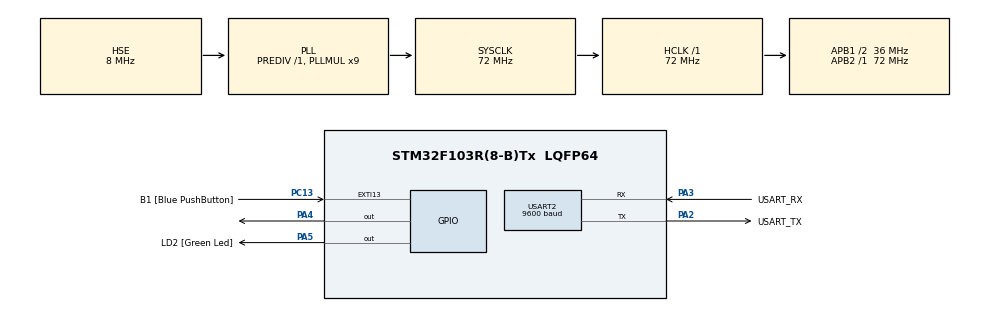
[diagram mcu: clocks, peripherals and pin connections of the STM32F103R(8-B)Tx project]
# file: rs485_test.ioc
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Mcu.Family=STM32F1
Mcu.Name=STM32F103R(8-B)Tx
Mcu.Package=LQFP64
NVIC.EXTI15_10_IRQn=true\:0\:0\:false\:false\:true\:true\:true\:true
NVIC.PriorityGroup=NVIC_PRIORITYGROUP_4
NVIC.USART2_IRQn=true\:0\:0\:false\:false\:true\:true\:true\:true
PA13.GPIO_Label=TMS
PA13.Mode=Serial_Wire
PA13.Signal=SYS_JTMS-SWDIO
PA14.GPIO_Label=TCK
PA14.Mode=Serial_Wire
PA14.Signal=SYS_JTCK-SWCLK
PA2.GPIO_Label=USART_TX
PA2.GPIO_Mode=GPIO_MODE_AF_PP
PA2.GPIO_PuPd=GPIO_NOPULL
PA2.GPIO_Speed=GPIO_SPEED_FREQ_LOW
PA2.Mode=Asynchronous
PA2.Signal=USART2_TX
PA3.GPIO_Label=USART_RX
PA3.GPIO_Mode=GPIO_MODE_AF_PP
PA3.GPIO_PuPd=GPIO_NOPULL
PA3.GPIO_Speed=GPIO_SPEED_FREQ_LOW
PA3.Mode=Asynchronous
PA3.Signal=USART2_RX
PA4.Signal=GPIO_Output
PA5.GPIO_Label=LD2 [Green Led]
PA5.GPIO_ModeDefaultOutputPP=GPIO_MODE_OUTPUT_PP
PA5.GPIO_PuPd=GPIO_NOPULL
PA5.GPIO_Speed=GPIO_SPEED_FREQ_LOW
PA5.Signal=GPIO_Output
PB3.GPIO_Label=SWO
PB3.Signal=SYS_JTDO-TRACESWO
PC13-TAMPER-RTC.GPIO_Label=B1 [Blue PushButton]
PC13-TAMPER-RTC.GPIO_PuPd=GPIO_NOPULL
PC13-TAMPER-RTC.Signal=GPXTI13
PC14-OSC32_IN.Mode=LSE-External-Oscillator
PC14-OSC32_IN.Signal=RCC_OSC32_IN
PC15-OSC32_OUT.Mode=LSE-External-Oscillator
PC15-OSC32_OUT.Signal=RCC_OSC32_OUT
PD0-OSC_IN.Mode=HSE-External-Clock-Source
PD0-OSC_IN.Signal=RCC_OSC_IN
PD1-OSC_OUT.Mode=HSE-External-Clock-Source
PD1-OSC_OUT.Signal=RCC_OSC_OUT
ProjectManager.HeapSize=0x200
ProjectManager.StackSize=0x400
ProjectManager.TargetToolchain=STM32CubeIDE
RCC.AHBFreq_Value=72000000
RCC.APB1CLKDivider=RCC_HCLK_DIV2
RCC.APB1Freq_Value=36000000
RCC.APB1TimFreq_Value=72000000
RCC.APB2Freq_Value=72000000
RCC.APB2TimFreq_Value=72000000
RCC.HCLKFreq_Value=72000000
RCC.PLLMUL=RCC_PLL_MUL9
RCC.PLLSourceVirtual=RCC_PLLSOURCE_HSE
RCC.RTCClockSelection=RCC_RTCCLKSOURCE_LSE
RCC.SYSCLKFreq_VALUE=72000000
RCC.SYSCLKSource=RCC_SYSCLKSOURCE_PLLCLK
RCC.USBFreq_Value=72000000
USART2.BaudRate=9600
USART2.VirtualMode=VM_ASYNC
board=NUCLEO-F103RB

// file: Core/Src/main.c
/* USER CODE BEGIN Header */
/**
  ******************************************************************************
  * @file           : main.c
  * @brief          : Main program body for RS485 communication with MAX485
  ******************************************************************************
  */
/* USER CODE END Header */
#include "main.h"
#include "usart.h"
#include "gpio.h"

/* USER CODE BEGIN PV */
// Define the GPIO pin for DE/RE control
#define RS485_DE_RE_PIN GPIO_PIN_4
#define RS485_DE_RE_PORT GPIOA

char txData[] = "Hello Raspberry Pi!\r\n";
char rxData[50]; // Buffer for received data
char ADDRESS[2] = "hi";
char usermsg[2];
volatile int check = 0;
volatile int data_received = 0;
/* USER CODE END PV */

void SystemClock_Config(void);

/* USER CODE BEGIN 0 */
// Function to enable RS485 Transmit Mode
void RS485_EnableTransmit(void) {
    HAL_GPIO_WritePin(RS485_DE_RE_PORT, RS485_DE_RE_PIN, GPIO_PIN_SET);
}

// Function to enable RS485 Receive Mode
void RS485_EnableReceive(void) {
    HAL_GPIO_WritePin(RS485_DE_RE_PORT, RS485_DE_RE_PIN, GPIO_PIN_RESET);
}
void HAL_UART_RxCpltCallback(UART_HandleTypeDef *huart) {

    if (huart->Instance == USART2) { // Data received from USART2

    	data_received++;

        // Re-enable UART reception for USART2
        //HAL_GPIO_WritePin(GPIOA, GPIO_PIN_4, GPIO_PIN_RESET);
        HAL_UART_Receive_IT(&huart2, rxData, sizeof(rxData));
    }

}
/* USER CODE END 0 */

int main(void)
{

  /* MCU Configuration--------------------------------------------------------*/

  /* Reset of all peripherals, Initializes the Flash interface and the Systick. */
  HAL_Init();

  /* Configure the system clock */
  SystemClock_Config();

  /* Initialize all configured peripherals */
  MX_GPIO_Init();
  MX_USART2_UART_Init();
  /* USER CODE BEGIN 2 */
    /* Infinite loop */
    while (1)
    {
        // Transmit Mode
        RS485_EnableTransmit();  // Enable TX Mode
        sprintf(usermsg, "%s", ADDRESS);
        HAL_UART_Transmit(&huart2, (uint8_t*)usermsg, sizeof(usermsg), HAL_MAX_DELAY);
        check = 1;
        //HAL_UART_Transmit(&huart2, (uint8_t*)txData, sizeof(txData), HAL_MAX_DELAY);
        HAL_Delay(100);  // Delay for data to stabilize

        // Receive Mode
        RS485_EnableReceive();  // Enable RX Mode
        if (HAL_UART_Receive_IT(&huart2, (uint8_t*)rxData, sizeof(rxData)) == HAL_OK) {
            // Optional: Echo back received data for testing
            RS485_EnableTransmit();
            //HAL_UART_Transmit(&huart2, (uint8_t*)rxData, sizeof(rxData), HAL_MAX_DELAY);
        }

        HAL_Delay(1000); // Loop delay
    }
  /* USER CODE END 2 */

  /* Infinite loop */
  while (1)
  {

  }
}

void SystemClock_Config(void)
{
  RCC_OscInitTypeDef RCC_OscInitStruct = {0};
  RCC_ClkInitTypeDef RCC_ClkInitStruct = {0};

  /** Initializes the RCC Oscillators according to the specified parameters
  * in the RCC_OscInitTypeDef structure.
  */
  RCC_OscInitStruct.OscillatorType = RCC_OSCILLATORTYPE_HSE;
  RCC_OscInitStruct.HSEState = RCC_HSE_BYPASS;
  RCC_OscInitStruct.HSEPredivValue = RCC_HSE_PREDIV_DIV1;
  RCC_OscInitStruct.HSIState = RCC_HSI_ON;
  RCC_OscInitStruct.PLL.PLLState = RCC_PLL_ON;
  RCC_OscInitStruct.PLL.PLLSource = RCC_PLLSOURCE_HSE;
  RCC_OscInitStruct.PLL.PLLMUL = RCC_PLL_MUL9;
  if (HAL_RCC_OscConfig(&RCC_OscInitStruct) != HAL_OK)
  {
    Error_Handler();
  }

  /** Initializes the CPU, AHB and APB buses clocks
  */
  RCC_ClkInitStruct.ClockType = RCC_CLOCKTYPE_HCLK|RCC_CLOCKTYPE_SYSCLK
                              |RCC_CLOCKTYPE_PCLK1|RCC_CLOCKTYPE_PCLK2;
  RCC_ClkInitStruct.SYSCLKSource = RCC_SYSCLKSOURCE_PLLCLK;
  RCC_ClkInitStruct.AHBCLKDivider = RCC_SYSCLK_DIV1;
  RCC_ClkInitStruct.APB1CLKDivider = RCC_HCLK_DIV2;
  RCC_ClkInitStruct.APB2CLKDivider = RCC_HCLK_DIV1;

  if (HAL_RCC_ClockConfig(&RCC_ClkInitStruct, FLASH_LATENCY_2) != HAL_OK)
  {
    Error_Handler();
  }
}

void Error_Handler(void)
{
  __disable_irq();
  while (1)
  {
  }
}
